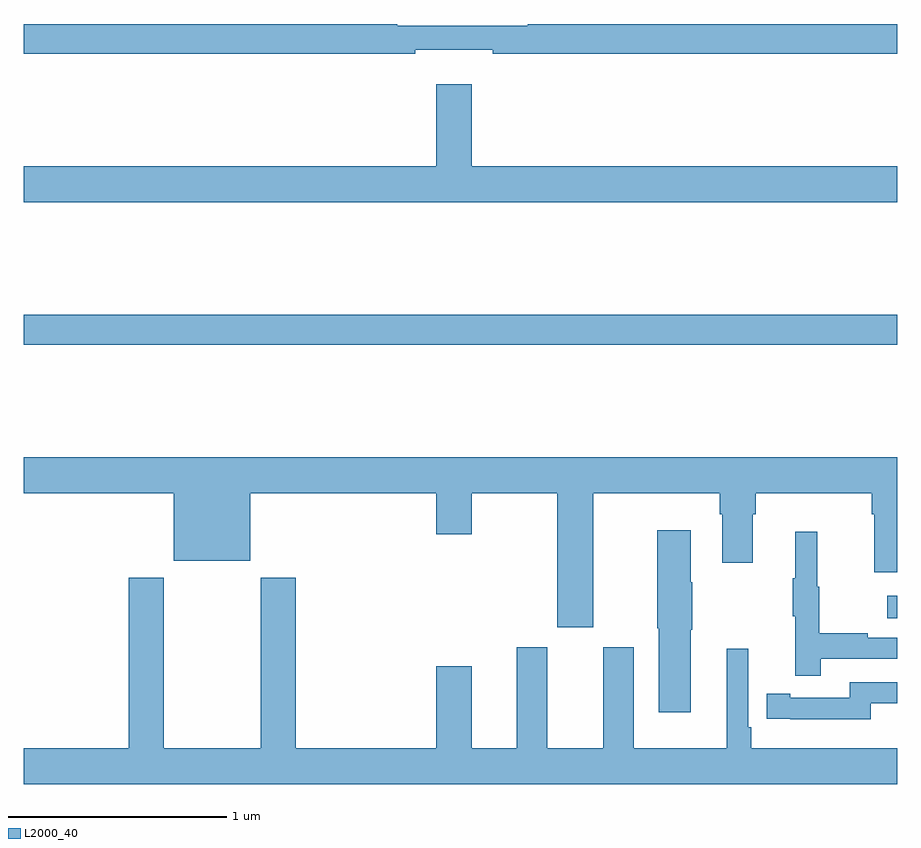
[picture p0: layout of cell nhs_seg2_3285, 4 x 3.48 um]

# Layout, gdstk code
import gdstk
lib = gdstk.Library(unit=1e-6, precision=1e-09)
def R(c, l, rs):  # rectangles x0, y0, x1, y1
    for r in rs: c.add(gdstk.rectangle(r[:2], r[2:], *l))
def P(c, l, *ps):  # polygons
    for p in ps: c.add(gdstk.Polygon(p, *l))
L2000_40 = (2000, 40)

nhs_seg2_3285 = lib.new_cell('nhs_seg2_3285')
R(nhs_seg2_3285, L2000_40, [(286.953,659.051,287,659.155), (283,660.304,287,660.44)])
P(nhs_seg2_3285, L2000_40, [(284.792,661.655),(285.148,661.655),(285.148,661.636),(287,661.636),(287,661.772),(285.308,661.772),(285.308,661.765),(284.711,661.765),(284.711,661.772),(283,661.772),(283,661.636),(284.792,661.636)],
  [(287,661.12),(285.052,661.12),(285.052,661.495),(284.888,661.495),(284.888,661.12),(283,661.12),(283,660.956),(287,660.956)],
  [(285.607,659.624),(286.187,659.624),(286.187,659.528),(286.199,659.528),(286.199,659.304),(286.339,659.304),(286.339,659.528),(286.352,659.528),(286.352,659.624),(286.883,659.624),(286.883,659.528),(286.895,659.528),(286.895,659.262),(287,659.262),(287,659.788),(283,659.788),(283,659.624),(283.688,659.624),(283.688,659.315),(284.038,659.315),(284.038,659.624),(284.888,659.624),(284.888,659.436),(285.052,659.436),(285.052,659.624),(285.443,659.624),(285.443,659.01),(285.607,659.01)],
  [(286.054,658.999),(286.062,658.999),(286.062,659.216),(286.054,659.216),(286.054,659.455),(285.901,659.455),(285.901,659.005),(285.908,659.005),(285.908,658.62),(286.054,658.62)],
  [(286.649,658.866),(287,658.866),(287,658.962),(286.865,658.962),(286.865,658.982),(286.642,658.982),(286.642,659.196),(286.634,659.196),(286.634,659.446),(286.532,659.446),(286.532,659.233),(286.521,659.233),(286.521,659.059),(286.532,659.059),(286.532,658.788),(286.649,658.788)],
  [(287,658.456),(286.331,658.456),(286.331,658.552),(286.317,658.552),(286.317,658.912),(286.22,658.912),(286.22,658.456),(285.793,658.456),(285.793,658.918),(285.653,658.918),(285.653,658.456),(285.397,658.456),(285.397,658.918),(285.257,658.918),(285.257,658.456),(285.052,658.456),(285.052,658.831),(284.888,658.831),(284.888,658.456),(284.246,658.456),(284.246,659.236),(284.086,659.236),(284.086,658.456),(283.641,658.456),(283.641,659.236),(283.481,659.236),(283.481,658.456),(283,658.456),(283,658.292),(287,658.292)],
  [(286.878,658.662),(287,658.662),(287,658.758),(286.782,658.758),(286.782,658.686),(286.51,658.686),(286.51,658.706),(286.402,658.706),(286.402,658.59),(286.51,658.59),(286.51,658.589),(286.878,658.589)])

lib.write_gds('nhs_seg2_3285.gds')
